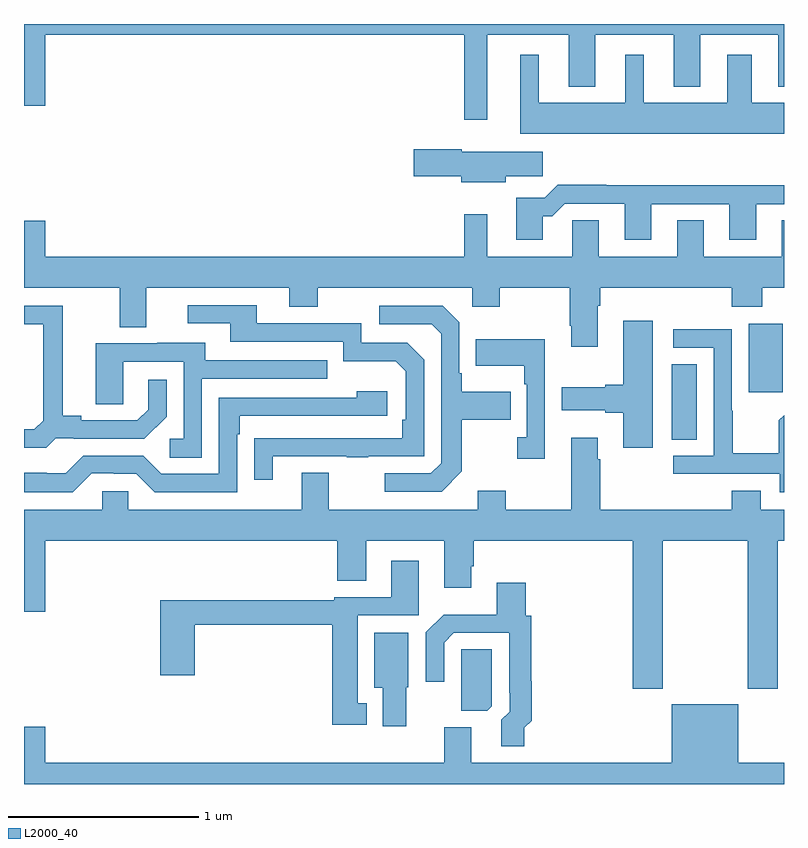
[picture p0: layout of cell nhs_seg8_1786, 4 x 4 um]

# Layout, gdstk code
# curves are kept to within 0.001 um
import gdstk
lib = gdstk.Library(unit=1e-6, precision=1e-09)
def R(c, l, rs):  # rectangles x0, y0, x1, y1
    for r in rs: c.add(gdstk.rectangle(r[:2], r[2:], *l))
def P(c, l, *ps):  # polygons
    for p in ps: c.add(gdstk.Polygon(p, *l))
L2000_40 = (2000, 40)

nhs_seg8_1786 = lib.new_cell('nhs_seg8_1786')
R(nhs_seg8_1786, L2000_40, [(228.41,1103.713,228.541,1104.11), (228.815,1103.961,228.994,1104.322)])
P(nhs_seg8_1786, L2000_40, [(227.437,1105.844),(227.867,1105.844),(227.867,1105.571),(228.007,1105.571),(228.007,1105.844),(228.419,1105.844),(228.419,1105.571),(228.559,1105.571),(228.559,1105.844),(228.971,1105.844),(228.971,1105.571),(229,1105.571),(229,1105.9),(225,1105.9),(225,1105.47),(225.112,1105.47),(225.112,1105.844),(227.316,1105.844),(227.316,1105.395),(227.437,1105.395)],
  [(229,1105.486),(228.829,1105.486),(228.829,1105.738),(228.701,1105.738),(228.701,1105.486),(228.262,1105.486),(228.262,1105.738),(228.164,1105.738),(228.164,1105.486),(227.71,1105.486),(227.71,1105.738),(227.612,1105.738),(227.612,1105.322),(229,1105.322)],
  [(227.536,1105.099),(227.731,1105.099),(227.731,1105.228),(227.304,1105.228),(227.304,1105.241),(227.052,1105.241),(227.052,1105.099),(227.3,1105.099),(227.3,1105.067),(227.536,1105.067)],
  [(227.731,1104.887),(227.78,1104.887),(227.847,1104.954),(228.161,1104.954),(228.161,1104.765),(228.301,1104.765),(228.301,1104.951),(228.713,1104.951),(228.713,1104.765),(228.853,1104.765),(228.853,1104.951),(229,1104.951),(229,1105.052),(228.065,1105.052),(228.065,1105.055),(227.81,1105.055),(227.74,1104.985),(227.591,1104.985),(227.591,1104.765),(227.731,1104.765)],
  [(228.019,1104.416),(228.032,1104.416),(228.032,1104.512),(228.725,1104.512),(228.725,1104.413),(228.885,1104.413),(228.885,1104.512),(229,1104.512),(229,1104.866),(228.989,1104.866),(228.989,1104.676),(228.577,1104.676),(228.577,1104.866),(228.437,1104.866),(228.437,1104.676),(228.025,1104.676),(228.025,1104.866),(227.886,1104.866),(227.886,1104.676),(227.437,1104.676),(227.437,1104.898),(227.316,1104.898),(227.316,1104.676),(225.112,1104.676),(225.112,1104.865),(225,1104.865),(225,1104.512),(225.503,1104.512),(225.503,1104.304),(225.643,1104.304),(225.643,1104.512),(226.397,1104.512),(226.397,1104.413),(226.545,1104.413),(226.545,1104.512),(227.358,1104.512),(227.358,1104.413),(227.505,1104.413),(227.505,1104.512),(227.872,1104.512),(227.872,1104.313),(227.879,1104.313),(227.879,1104.201),(228.019,1104.201)],
  [(226.309,1103.625),(226.699,1103.625),(226.699,1103.62),(226.811,1103.62),(226.811,1103.625),(227.106,1103.625),(227.106,1104.132),(227.016,1104.222),(226.776,1104.222),(226.776,1104.324),(226.225,1104.324),(226.225,1104.42),(225.861,1104.42),(225.861,1104.324),(226.085,1104.324),(226.085,1104.228),(226.68,1104.228),(226.68,1104.125),(226.957,1104.125),(227.01,1104.072),(227.01,1103.818),(226.99,1103.818),(226.99,1103.721),(226.213,1103.72),(226.213,1103.502),(226.309,1103.502)],
  [(227.305,1103.545),(227.305,1103.818),(227.561,1103.818),(227.561,1103.965),(227.305,1103.965),(227.305,1104.061),(227.292,1104.061),(227.292,1104.33),(227.205,1104.417),(226.869,1104.417),(226.869,1104.321),(227.145,1104.321),(227.196,1104.27),(227.196,1103.589),(227.142,1103.535),(226.899,1103.535),(226.899,1103.439),(227.199,1103.439)],
  [(225.168,1103.721),(225.262,1103.721),(225.262,1103.718),(225.634,1103.718),(225.75,1103.834),(225.75,1104.028),(225.653,1104.028),(225.653,1103.871),(225.596,1103.814),(225.301,1103.814),(225.301,1103.837),(225.205,1103.837),(225.205,1104.417),(225,1104.417),(225,1104.321),(225.101,1104.321),(225.101,1103.813),(225.054,1103.766),(225,1103.766),(225,1103.669),(225.116,1103.669)],
  [(228.31,1104.337),(228.155,1104.337),(228.155,1104.002),(228.059,1104.002),(228.059,1103.989),(227.829,1103.989),(227.829,1103.867),(228.059,1103.867),(228.059,1103.855),(228.155,1103.855),(228.155,1103.67),(228.31,1103.67)],
  [(229,1103.842),(228.973,1103.815),(228.973,1103.641),(228.729,1103.641),(228.729,1103.864),(228.726,1103.864),(228.726,1104.294),(228.417,1104.294),(228.417,1104.195),(228.63,1104.195),(228.63,1103.628),(228.417,1103.628),(228.417,1103.532),(228.978,1103.532),(228.978,1103.435),(229,1103.435)],
  [(227.742,1104.241),(227.377,1104.241),(227.377,1104.101),(227.634,1104.101),(227.634,1104.005),(227.646,1104.005),(227.646,1103.726),(227.595,1103.726),(227.595,1103.613),(227.742,1103.613)],
  [(225.936,1104.033),(226.595,1104.033),(226.595,1104.129),(225.955,1104.129),(225.955,1104.223),(225.701,1104.223),(225.701,1104.219),(225.377,1104.219),(225.377,1103.899),(225.522,1103.899),(225.522,1104.123),(225.84,1104.123),(225.84,1103.718),(225.768,1103.718),(225.768,1103.617),(225.936,1103.617)],
  [(225.357,1103.535),(225.473,1103.535),(225.473,1103.532),(225.591,1103.532),(225.687,1103.436),(226.122,1103.436),(226.122,1103.741),(226.135,1103.741),(226.135,1103.838),(226.912,1103.838),(226.912,1103.968),(226.751,1103.968),(226.751,1103.934),(226.026,1103.934),(226.026,1103.532),(225.723,1103.532),(225.627,1103.628),(225.312,1103.628),(225.219,1103.535),(225.119,1103.535),(225.119,1103.539),(225,1103.539),(225,1103.435),(225.257,1103.435)],
  [(228.363,1103.18),(228.808,1103.18),(228.808,1102.401),(228.968,1102.401),(228.968,1103.18),(229,1103.18),(229,1103.344),(228.877,1103.344),(228.877,1103.443),(228.725,1103.443),(228.725,1103.344),(228.032,1103.344),(228.032,1103.609),(228.019,1103.609),(228.019,1103.722),(227.879,1103.722),(227.879,1103.344),(227.535,1103.344),(227.535,1103.443),(227.387,1103.443),(227.387,1103.344),(226.603,1103.344),(226.603,1103.539),(226.463,1103.539),(226.463,1103.344),(225.549,1103.344),(225.549,1103.442),(225.411,1103.442),(225.411,1103.344),(225,1103.344),(225,1102.806),(225.112,1102.806),(225.112,1103.18),(226.649,1103.18),(226.649,1102.969),(226.801,1102.969),(226.801,1103.18),(227.213,1103.18),(227.213,1102.932),(227.353,1102.932),(227.353,1103.047),(227.366,1103.047),(227.366,1103.18),(228.203,1103.18),(228.203,1102.401),(228.363,1102.401)],
  [(226.804,1102.325),(226.756,1102.325),(226.756,1102.788),(227.077,1102.788),(227.077,1103.074),(226.934,1103.074),(226.934,1102.884),(226.634,1102.884),(226.634,1102.867),(225.716,1102.867),(225.716,1102.473),(225.899,1102.473),(225.899,1102.738),(226.622,1102.738),(226.622,1102.212),(226.804,1102.212)],
  [(227.633,1102.195),(227.672,1102.234),(227.672,1102.442),(227.669,1102.442),(227.669,1102.785),(227.642,1102.785),(227.642,1102.96),(227.489,1102.96),(227.489,1102.792),(227.209,1102.792),(227.115,1102.698),(227.115,1102.437),(227.211,1102.437),(227.211,1102.644),(227.262,1102.695),(227.553,1102.695),(227.553,1102.381),(227.556,1102.381),(227.556,1102.281),(227.513,1102.238),(227.513,1102.098),(227.633,1102.098)],
  [(227.011,1102.41),(227.023,1102.41),(227.023,1102.696),(226.844,1102.696),(226.844,1102.406),(226.889,1102.406),(226.889,1102.203),(227.011,1102.203)],
  [(227.463,1102.308),(227.463,1102.61),(227.301,1102.61),(227.301,1102.499),(227.3,1102.499),(227.3,1102.285),(227.439,1102.285)],
  [(229,1102.012),(228.76,1102.012),(228.76,1102.321),(228.41,1102.321),(228.41,1102.012),(227.353,1102.012),(227.353,1102.2),(227.213,1102.2),(227.213,1102.012),(225.112,1102.012),(225.112,1102.201),(225,1102.201),(225,1101.9),(229,1101.9)])

lib.write_gds('nhs_seg8_1786.gds')
